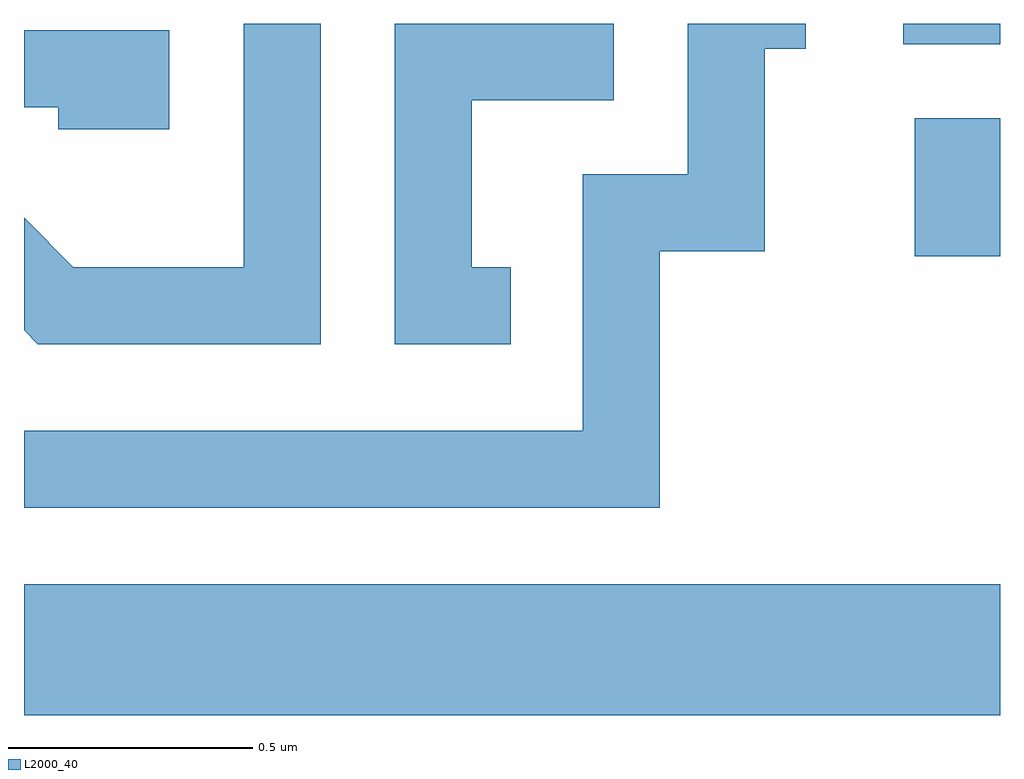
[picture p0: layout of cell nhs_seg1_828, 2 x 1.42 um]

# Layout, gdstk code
import gdstk
lib = gdstk.Library(unit=1e-6, precision=1e-09)
def R(c, l, rs):  # rectangles x0, y0, x1, y1
    for r in rs: c.add(gdstk.rectangle(r[:2], r[2:], *l))
def P(c, l, *ps):  # polygons
    for p in ps: c.add(gdstk.Polygon(p, *l))
L2000_40 = (2000, 40)

nhs_seg1_828 = lib.new_cell('nhs_seg1_828')
R(nhs_seg1_828, L2000_40, [(191.611,846.296,193.611,846.564), (193.436,847.236,193.611,847.519), (193.413,847.671,193.611,847.712)])
P(nhs_seg1_828, L2000_40, [(192.914,847.246),(193.129,847.246),(193.129,847.661),(193.213,847.661),(193.213,847.712),(192.971,847.712),(192.971,847.404),(192.756,847.404),(192.756,846.879),(191.611,846.879),(191.611,846.721),(192.914,846.721)],
  [(192.608,847.214),(192.529,847.214),(192.529,847.556),(192.819,847.556),(192.819,847.712),(192.371,847.712),(192.371,847.056),(192.608,847.056)],
  [(192.219,847.712),(192.061,847.712),(192.061,847.214),(191.712,847.214),(191.611,847.315),(191.611,847.084),(191.639,847.056),(192.219,847.056)],
  [(191.909,847.699),(191.611,847.699),(191.611,847.541),(191.681,847.541),(191.681,847.496),(191.909,847.496)])

lib.write_gds('nhs_seg1_828.gds')
